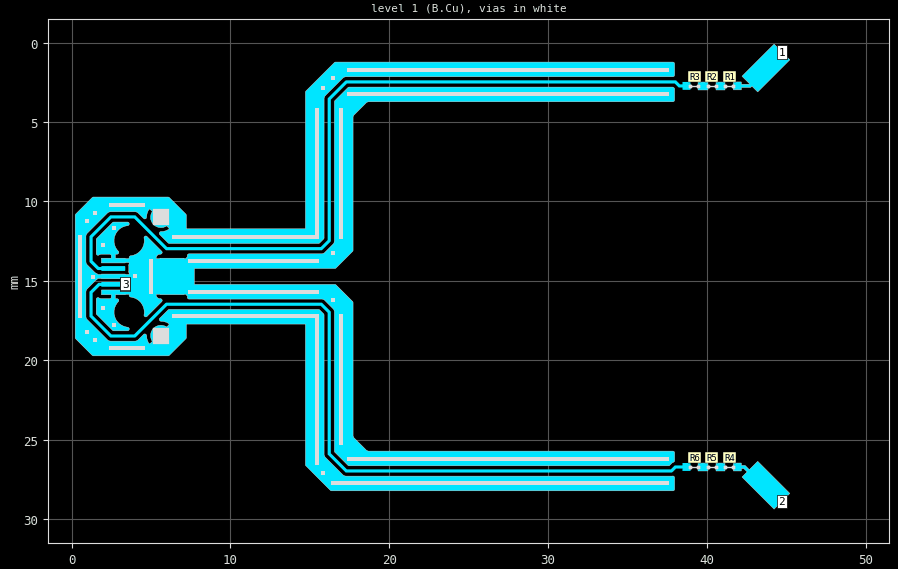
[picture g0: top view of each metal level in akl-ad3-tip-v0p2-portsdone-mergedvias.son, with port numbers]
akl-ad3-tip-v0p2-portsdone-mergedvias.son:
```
FTYP SONPROJ 19 ! Sonnet Project File
VER 18.01
HEADER
LIC antikernel2.1.51176 90e2ba8817c1 havequick azonenberg FullLicense
DAT 10/08/2021 09:10:43
BUILT_BY_CREATED dxf 18.01 09/25/2021 05:46:11
BUILT_BY_SAVED sonnet 18.01
MDATE 10/08/2021 09:05:30
HDATE 10/08/2021 09:05:30
ANN Created by dxfgeo, Sonnet Software Inc.
END HEADER
DIM
ANG DEG
CAP PF
CON /OH
FREQ GHZ
IND NH
LNG MM
RES OH
END DIM
CONTROL
VARSWP
OPTIONS  -dj
SPEED 1
CACHE_ABS 2
Q_ACC N
END CONTROL
GEO
TMET "Free Space" 0 FREESPACE 376.7303136 0 0 0
BMET "Lossless" 0 SUP 0 0 0 0
MET "Copper 1oz thick" 1 TMM 58000000 0.5 0.035 2
MET "Unknown_metal" 1 VOL INF 0
BOX 2 50 30 4000 2400 20 0
      5 1 1 0 0 0 0 "Air"
      0.035 4.3 1 0.02 0 0 0 "Soldermask"
      0.1016 3.2 1 0.002 0 0 0 "Panasonic R-F775"
TECHLAY METAL B.Cu L1D0 -1 -65534 
1 0 0 N 229 1 1 100 100 0 0 0 Y
END
END
TECHLAY VIA Via1 L2D0 -2 -65534 
VIA POLYGON
1 0 -1 N 375 1 1 100 100 0 0 0 Y
TOLEVEL 2 RING NOCOVERS
END
END
LORGN 0 30 U 
POR1 CUP Auto
GNDREF AUTO
TERMW FEED
POLY 3 1
22
2 50 0 0 0 44.736 28.886 
CUPGRP "Auto" LOCAL
ID 371
END
POR1 CUP Auto
GNDREF AUTO
TERMW FEED
POLY 4 1
61
4 50 0 0 0 3.375 15.225 
CUPGRP "Auto" LOCAL
ID 372
END
POR1 CUP Auto
GNDREF AUTO
TERMW FEED
POLY 7 1
122
3 50 0 0 0 3.375 14.225 
CUPGRP "Auto" LOCAL
ID 373
END
POR1 CUP Auto
GNDREF AUTO
TERMW FEED
POLY 21 1
19
1 50 0 0 0 44.736 0.589 
CUPGRP "Auto" LOCAL
ID 374
END
SMD 1 "R1"
ID 255
GNDREF AUTO
DRP1 RIGHT NONE 1
DRP1 LEFT NONE 1
SBOX 41.3 41.55 2.6 2.85
PBSHW N
LPOS 41.425 2.6
TYPE SPARAM 1
SMDP 1 41.675 2.725 R 5 1 
EXSMDP
GNDREF AUTO
TERMW FEED
END EXSMDP
SMDP 1 41.175 2.725 L 6 2 
EXSMDP
GNDREF AUTO
TERMW FEED
END EXSMDP
END
SMD 1 "R2"
ID 282
GNDREF AUTO
DRP1 RIGHT NONE 1
DRP1 LEFT NONE 1
SBOX 40.2 40.45 2.6 2.85
PBSHW N
LPOS 40.325 2.6
TYPE SPARAM 1
SMDP 1 40.575 2.725 R 7 1 
EXSMDP
GNDREF AUTO
TERMW FEED
END EXSMDP
SMDP 1 40.075 2.725 L 8 2 
EXSMDP
GNDREF AUTO
TERMW FEED
END EXSMDP
END
SMD 1 "R3"
ID 287
GNDREF AUTO
DRP1 RIGHT NONE 1
DRP1 LEFT NONE 1
SBOX 39.1 39.35 2.6 2.85
PBSHW N
LPOS 39.225 2.6
TYPE SPARAM 2
SMDP 1 39.475 2.725 R 9 1 
EXSMDP
GNDREF AUTO
TERMW FEED
END EXSMDP
SMDP 1 38.975 2.725 L 10 2 
EXSMDP
GNDREF AUTO
TERMW FEED
END EXSMDP
END
SMD 1 "R4"
ID 293
GNDREF AUTO
DRP1 RIGHT NONE 1
DRP1 LEFT NONE 1
SBOX 41.3 41.55 26.6 26.85
PBSHW N
LPOS 41.425 26.6
TYPE SPARAM 1
SMDP 1 41.675 26.725 R 11 1 
EXSMDP
GNDREF AUTO
TERMW FEED
END EXSMDP
SMDP 1 41.175 26.725 L 12 2 
EXSMDP
GNDREF AUTO
TERMW FEED
END EXSMDP
END
SMD 1 "R5"
ID 298
GNDREF AUTO
DRP1 RIGHT NONE 1
DRP1 LEFT NONE 1
SBOX 40.2 40.45 26.6 26.85
PBSHW N
LPOS 40.325 26.6
TYPE SPARAM 1
SMDP 1 40.575 26.725 R 13 1 
EXSMDP
GNDREF AUTO
TERMW FEED
END EXSMDP
SMDP 1 40.075 26.725 L 14 2 
EXSMDP
GNDREF AUTO
TERMW FEED
END EXSMDP
END
SMD 1 "R6"
ID 303
GNDREF AUTO
DRP1 RIGHT NONE 1
DRP1 LEFT NONE 1
SBOX 39.1 39.35 26.6 26.85
PBSHW N
LPOS 39.225 26.6
TYPE SPARAM 2
SMDP 1 39.475 26.725 R 15 1 
EXSMDP
GNDREF AUTO
TERMW FEED
END EXSMDP
SMDP 1 38.975 26.725 L 16 2 
EXSMDP
GNDREF AUTO
TERMW FEED
END EXSMDP
END
NUM 40
1 5 0 N 1 1 1 100 100 0 0 0 Y
TLAYNAM B.Cu INH
39.475 26.975
39.475 26.475
40.075 26.475
40.075 26.975
39.475 26.975
END
1 5 0 N 2 1 1 100 100 0 0 0 Y
TLAYNAM B.Cu INH
40.575 26.975
40.575 26.475
41.175 26.475
41.175 26.975
40.575 26.975
END
1 24 0 N 3 1 1 100 100 0 0 0 Y
TLAYNAM B.Cu INH
44.241 29.381
42.219 27.359
42.543 27.035
42.334 26.825
42.175 26.825
42.175 26.975
41.675 26.975
41.675 26.475
42.175 26.475
42.175 26.625
42.38 26.625
42.39 26.626
42.399 26.628
42.409 26.631
42.418 26.634
42.426 26.639
42.435 26.645
42.442 26.651
42.449 26.658
42.455 26.665
42.684 26.894
43.209 26.369
45.231 28.391
44.241 29.381
END
1 125 0 N 4 1 1 100 100 0 0 0 Y
TLAYNAM B.Cu INH
17.295 27.075
17.285 27.074
17.276 27.072
17.266 27.069
17.257 27.066
17.249 27.061
17.24 27.055
17.233 27.049
16.151 25.967
16.145 25.96
16.139 25.951
16.134 25.943
16.131 25.934
16.128 25.924
16.126 25.915
16.125 25.905
16.125 17.016
15.684 16.575
6.016 16.575
4.042 18.549
4.035 18.555
4.026 18.561
4.018 18.566
4.009 18.569
3.999 18.572
3.99 18.574
3.98 18.575
2.47 18.575
2.46 18.574
2.451 18.572
2.441 18.569
2.432 18.566
2.424 18.561
2.415 18.555
2.408 18.549
1.151 17.292
1.145 17.285
1.139 17.276
1.134 17.268
1.131 17.259
1.128 17.249
1.126 17.24
1.125 17.23
1.125 15.72
1.126 15.71
1.128 15.701
1.131 15.691
1.134 15.682
1.139 15.674
1.145 15.665
1.151 15.658
1.658 15.151
1.665 15.145
1.674 15.139
1.682 15.134
1.691 15.131
1.701 15.128
1.71 15.126
1.72 15.125
1.875 15.125
1.875 15.075
3.375 15.075
3.375 15.375
1.875 15.375
1.875 15.325
1.766 15.325
1.325 15.766
1.325 17.184
2.516 18.375
3.934 18.375
5.908 16.401
5.915 16.395
5.924 16.389
5.932 16.384
5.941 16.381
5.951 16.378
5.96 16.376
5.97 16.375
15.73 16.375
15.74 16.376
15.749 16.378
15.759 16.381
15.768 16.384
15.776 16.389
15.785 16.395
15.792 16.401
15.799 16.408
15.805 16.415
16.285 16.895
16.292 16.901
16.299 16.908
16.305 16.915
16.311 16.924
16.316 16.932
16.319 16.941
16.322 16.951
16.324 16.96
16.325 16.97
16.325 25.859
17.341 26.875
37.734 26.875
37.958 26.651
37.965 26.645
37.974 26.639
37.982 26.634
37.991 26.631
38.001 26.628
38.01 26.626
38.02 26.625
38.475 26.625
38.475 26.475
38.975 26.475
38.975 26.975
38.475 26.975
38.475 26.825
38.066 26.825
37.842 27.049
37.835 27.055
37.826 27.061
37.818 27.066
37.809 27.069
37.799 27.072
37.79 27.074
37.78 27.075
17.295 27.075
END
1 5 0 N 5 1 1 100 100 0 0 0 Y
TLAYNAM B.Cu INH
39.475 2.975
39.475 2.475
40.075 2.475
40.075 2.975
39.475 2.975
END
1 5 0 N 6 1 1 100 100 0 0 0 Y
TLAYNAM B.Cu INH
40.575 2.975
40.575 2.475
41.175 2.475
41.175 2.975
40.575 2.975
END
1 125 0 N 7 1 1 100 100 0 0 0 Y
TLAYNAM B.Cu INH
1.875 14.375
1.875 14.325
1.67 14.325
1.66 14.324
1.651 14.322
1.641 14.319
1.632 14.316
1.624 14.311
1.615 14.305
1.608 14.299
1.151 13.842
1.145 13.835
1.139 13.826
1.134 13.818
1.131 13.809
1.128 13.799
1.126 13.79
1.125 13.78
1.125 12.22
1.126 12.21
1.128 12.201
1.131 12.191
1.134 12.182
1.139 12.174
1.145 12.165
1.151 12.158
2.408 10.901
2.415 10.895
2.424 10.889
2.432 10.884
2.441 10.881
2.451 10.878
2.46 10.876
2.47 10.875
3.98 10.875
3.99 10.876
3.999 10.878
4.009 10.881
4.018 10.884
4.026 10.889
4.035 10.895
4.042 10.901
4.049 10.908
4.055 10.915
6.016 12.875
15.684 12.875
16.125 12.434
16.125 3.545
16.126 3.535
16.128 3.526
16.131 3.516
16.134 3.507
16.139 3.499
16.145 3.49
16.151 3.483
17.233 2.401
17.24 2.395
17.249 2.389
17.257 2.384
17.266 2.381
17.276 2.378
17.285 2.376
17.295 2.375
38.03 2.375
38.04 2.376
38.049 2.378
38.059 2.381
38.068 2.384
38.076 2.389
38.085 2.395
38.092 2.401
38.099 2.408
38.105 2.415
38.316 2.625
38.475 2.625
38.475 2.475
38.975 2.475
38.975 2.975
38.475 2.975
38.475 2.825
38.27 2.825
38.26 2.824
38.251 2.822
38.241 2.819
38.232 2.816
38.224 2.811
38.215 2.805
38.208 2.799
37.984 2.575
17.341 2.575
16.325 3.591
16.325 12.48
16.324 12.49
16.322 12.499
16.319 12.509
16.316 12.518
16.311 12.526
16.305 12.535
16.299 12.542
15.792 13.049
15.785 13.055
15.776 13.061
15.768 13.066
15.759 13.069
15.749 13.072
15.74 13.074
15.73 13.075
5.97 13.075
5.96 13.074
5.951 13.072
5.941 13.069
5.932 13.066
5.924 13.061
5.915 13.055
5.908 13.049
3.934 11.075
2.516 11.075
1.325 12.266
1.325 13.734
1.716 14.125
1.875 14.125
1.875 14.075
3.375 14.075
3.375 14.375
1.875 14.375
END
1 1538 0 N 8 1 1 100 100 0 0 0 Y
TLAYNAM B.Cu INH
16.369 28.226
16.358 28.224
16.348 28.222
16.337 28.219
16.327 28.215
16.317 28.21
16.299 28.196
16.291 28.189
16.287 28.185
14.754 26.651
14.747 26.642
14.741 26.633
14.736 26.624
14.731 26.613
14.728 26.603
14.726 26.592
14.725 26.581
14.725 17.987
14.727 17.979
14.727 17.978
14.725 17.963
14.725 17.727
14.724 17.726
14.487 17.726
14.478 17.724
14.473 17.724
14.463 17.726
7.487 17.726
7.478 17.724
7.473 17.724
7.463 17.726
7.226 17.726
7.226 17.963
7.224 17.972
7.224 17.977
7.226 17.987
7.226 18.581
7.224 18.592
7.222 18.602
7.219 18.613
7.215 18.623
7.21 18.633
7.196 18.651
7.189 18.659
7.184 18.663
6.151 19.696
6.133 19.71
6.123 19.715
6.113 19.719
6.103 19.722
6.081 19.726
1.369 19.726
1.358 19.724
1.348 19.722
1.337 19.719
1.327 19.715
1.317 19.71
1.299 19.696
0.793 19.19
0.786 19.182
0.254 18.65
0.247 18.642
0.241 18.633
0.236 18.623
0.232 18.613
0.228 18.602
0.226 18.591
0.225 18.582
0.225 10.869
0.227 10.858
0.229 10.848
0.232 10.837
0.236 10.827
0.241 10.817
0.255 10.799
1.3 9.754
1.308 9.747
1.317 9.741
1.327 9.736
1.337 9.732
1.348 9.728
1.359 9.726
1.368 9.725
6.08 9.725
6.09 9.727
6.092 9.727
6.102 9.729
6.113 9.732
6.123 9.736
6.133 9.741
6.151 9.755
6.158 9.762
7.184 10.789
7.189 10.792
7.196 10.799
7.21 10.817
7.215 10.827
7.219 10.837
7.222 10.848
7.224 10.858
7.226 10.869
7.226 11.463
7.224 11.472
7.224 11.477
7.226 11.487
7.226 11.725
7.463 11.725
7.471 11.727
7.472 11.727
7.487 11.725
14.463 11.725
14.471 11.727
14.472 11.727
14.487 11.725
14.723 11.725
14.725 11.724
14.725 11.487
14.727 11.479
14.727 11.478
14.725 11.463
14.725 3.119
14.727 3.108
14.729 3.098
14.732 3.087
14.736 3.077
14.741 3.067
14.755 3.049
14.762 3.041
14.766 3.038
16.55 1.254
16.559 1.247
16.561 1.246
16.567 1.241
16.577 1.236
16.588 1.231
16.598 1.228
16.609 1.226
16.618 1.225
37.463 1.225
37.471 1.227
37.472 1.227
37.487 1.225
37.869 1.225
37.88 1.227
37.89 1.229
37.901 1.232
37.911 1.236
37.921 1.241
37.939 1.255
37.946 1.262
37.96 1.28
37.965 1.29
37.969 1.3
37.972 1.311
37.974 1.321
37.976 1.332
37.976 2.044
37.974 2.055
37.972 2.065
37.969 2.076
37.965 2.086
37.96 2.096
37.946 2.114
37.939 2.121
37.921 2.135
37.911 2.14
37.901 2.144
37.89 2.147
37.88 2.149
37.869 2.151
17.315 2.151
17.297 2.149
17.296 2.149
17.285 2.151
17.273 2.151
17.233 2.156
17.178 2.172
17.117 2.204
17.105 2.214
17.098 2.221
17.065 2.248
17.064 2.249
17.059 2.256
16.006 3.309
16 3.314
15.997 3.316
15.995 3.317
15.994 3.318
15.994 3.319
15.99 3.323
15.984 3.331
15.981 3.334
15.954 3.368
15.923 3.424
15.906 3.483
15.899 3.552
15.899 3.554
15.901 3.565
15.9 12.288
15.901 12.3
15.899 12.311
15.897 12.321
15.894 12.332
15.89 12.342
15.885 12.352
15.871 12.37
15.62 12.621
15.602 12.635
15.592 12.64
15.582 12.644
15.572 12.647
15.55 12.651
6.15 12.651
6.139 12.649
6.129 12.647
6.118 12.644
6.108 12.64
6.098 12.635
6.08 12.621
5.55 12.091
5.536 12.073
5.531 12.063
5.527 12.053
5.524 12.042
5.524 12.041
5.523 12.038
5.521 12.028
5.521 12.025
5.52 12.021
5.52 12.009
5.521 12.002
5.522 11.998
5.522 11.994
5.525 11.984
5.528 11.973
5.536 11.957
5.537 11.956
5.538 11.954
5.544 11.944
5.552 11.936
5.568 11.922
5.578 11.916
5.588 11.911
5.598 11.907
5.609 11.904
5.619 11.902
5.779 11.891
5.951 11.844
6.112 11.763
6.119 11.758
6.142 11.694
5.987 11.539
5.959 11.558
5.903 11.588
5.844 11.612
5.783 11.631
5.72 11.643
5.657 11.649
5.593 11.649
5.53 11.643
5.467 11.631
5.406 11.612
5.347 11.588
5.291 11.558
5.238 11.522
5.188 11.482
5.143 11.437
5.103 11.387
5.067 11.334
5.037 11.278
5.013 11.219
4.994 11.158
4.982 11.095
4.976 11.032
4.976 10.968
4.982 10.905
4.994 10.842
5.013 10.781
5.037 10.722
5.067 10.666
5.086 10.638
4.932 10.484
4.871 10.505
4.798 10.634
4.743 10.8
4.721 10.975
4.721 10.98
4.722 10.988
4.722 11
4.72 11.011
4.718 11.021
4.714 11.032
4.71 11.042
4.708 11.045
4.706 11.049
4.701 11.055
4.698 11.06
4.691 11.069
4.683 11.076
4.674 11.083
4.67 11.086
4.667 11.088
4.655 11.094
4.649 11.096
4.647 11.097
4.646 11.097
4.644 11.098
4.634 11.101
4.623 11.103
4.612 11.104
4.603 11.104
4.594 11.102
4.59 11.102
4.584 11.101
4.582 11.1
4.571 11.097
4.57 11.096
4.568 11.096
4.566 11.095
4.561 11.093
4.551 11.088
4.549 11.086
4.545 11.083
4.54 11.08
4.535 11.076
4.216 10.757
4.209 10.748
4.206 10.744
4.206 10.743
4.157 10.703
4.101 10.673
4.041 10.656
4.002 10.651
3.99 10.651
3.972 10.649
3.971 10.649
3.96 10.651
2.49 10.651
2.472 10.649
2.471 10.649
2.46 10.651
2.448 10.651
2.408 10.656
2.353 10.672
2.292 10.704
2.244 10.743
2.243 10.744
2.234 10.756
1.006 11.984
1 11.989
0.997 11.991
0.995 11.992
0.994 11.993
0.994 11.994
0.99 11.998
0.984 12.006
0.981 12.009
0.954 12.043
0.924 12.099
0.912 12.136
0.909 12.148
0.907 12.153
0.906 12.156
0.905 12.158
0.903 12.18
0.901 12.191
0.898 12.223
0.899 12.229
0.901 12.24
0.9 13.748
0.901 13.76
0.899 13.778
0.899 13.779
0.901 13.79
0.901 13.802
0.906 13.842
0.922 13.897
0.954 13.958
0.993 14.006
0.994 14.007
1.006 14.016
1.434 14.444
1.439 14.45
1.441 14.453
1.444 14.456
1.487 14.491
1.504 14.502
1.505 14.503
1.548 14.526
1.566 14.531
1.577 14.536
1.586 14.541
1.596 14.547
1.604 14.554
1.612 14.562
1.619 14.57
1.649 14.6
1.864 14.6
1.869 14.601
1.875 14.601
1.875 14.575
3.375 14.575
3.375 14.601
3.381 14.601
3.386 14.6
3.601 14.6
3.626 14.575
3.622 14.528
3.607 14.479
3.607 14.478
3.606 14.478
3.605 14.473
3.603 14.469
3.603 14.468
3.6 14.458
3.596 14.436
3.597 14.424
3.601 14.38
3.601 14.069
3.596 14.027
3.596 14.014
3.597 14.003
3.599 13.992
3.607 13.972
3.608 13.97
3.608 13.969
3.621 13.927
3.626 13.875
3.602 13.851
3.386 13.851
3.375 13.85
3.375 13.875
1.875 13.875
1.875 13.575
2.5 13.575
2.5 13.391
2.435 13.326
1.871 13.324
1.869 13.324
1.828 13.328
1.777 13.344
1.739 13.363
1.737 13.365
1.73 13.371
1.721 13.377
1.711 13.382
1.701 13.386
1.69 13.39
1.679 13.392
1.67 13.393
1.657 13.393
1.646 13.392
1.635 13.39
1.615 13.382
1.605 13.377
1.596 13.371
1.587 13.364
1.579 13.356
1.572 13.347
1.566 13.338
1.561 13.328
1.557 13.318
1.554 13.308
1.551 13.297
1.55 13.286
1.55 12.4
1.552 12.389
1.554 12.379
1.554 12.378
1.557 12.368
1.561 12.358
1.566 12.348
1.58 12.33
1.587 12.322
1.591 12.319
2.581 11.329
2.59 11.322
2.592 11.321
2.598 11.316
2.604 11.313
2.609 11.31
2.619 11.306
2.629 11.303
2.64 11.301
2.649 11.3
3.526 11.3
3.537 11.302
3.547 11.304
3.548 11.304
3.558 11.307
3.568 11.311
3.578 11.316
3.596 11.33
3.604 11.337
3.611 11.346
3.617 11.355
3.622 11.365
3.626 11.375
3.629 11.386
3.632 11.396
3.633 11.407
3.633 11.419
3.632 11.43
3.629 11.44
3.626 11.451
3.622 11.461
3.617 11.471
3.611 11.48
3.604 11.489
3.596 11.496
3.578 11.51
3.568 11.515
3.558 11.519
3.548 11.522
3.547 11.522
3.536 11.524
3.346 11.562
3.174 11.633
3.021 11.736
2.911 11.846
2.906 11.854
2.887 11.876
2.876 11.887
2.782 12.027
2.71 12.202
2.676 12.373
2.676 12.573
2.712 12.754
2.783 12.926
2.886 13.079
2.943 13.136
2.95 13.145
2.956 13.154
2.962 13.164
2.966 13.174
2.969 13.184
2.971 13.195
2.973 13.217
2.969 13.239
2.966 13.25
2.962 13.26
2.957 13.27
2.951 13.279
2.944 13.287
2.936 13.295
2.927 13.302
2.918 13.308
2.908 13.314
2.898 13.318
2.888 13.321
2.877 13.323
2.866 13.324
2.854 13.324
2.775 13.325
2.751 13.349
2.751 13.575
3.375 13.575
3.375 13.6
3.601 13.6
3.626 13.575
3.624 13.554
3.624 13.553
3.622 13.542
3.623 13.53
3.624 13.519
3.626 13.509
3.629 13.498
3.633 13.488
3.638 13.478
3.645 13.469
3.652 13.461
3.652 13.46
3.659 13.453
3.66 13.453
3.668 13.446
3.677 13.439
3.687 13.434
3.697 13.43
3.708 13.427
3.719 13.425
3.905 13.388
4.076 13.317
4.229 13.214
4.361 13.082
4.468 12.923
4.54 12.748
4.575 12.572
4.575 12.377
4.564 12.319
4.563 12.317
4.561 12.307
4.56 12.296
4.559 12.284
4.561 12.273
4.563 12.263
4.566 12.252
4.57 12.242
4.575 12.232
4.589 12.214
4.596 12.206
4.605 12.199
4.614 12.193
4.624 12.188
4.634 12.184
4.645 12.181
4.655 12.179
4.666 12.177
4.678 12.177
4.689 12.179
4.699 12.181
4.71 12.184
4.72 12.188
4.73 12.193
4.739 12.199
4.748 12.206
4.756 12.214
4.759 12.219
5.668 13.128
5.676 13.135
5.683 13.143
5.689 13.153
5.694 13.162
5.699 13.173
5.702 13.183
5.704 13.194
5.705 13.205
5.705 13.216
5.704 13.227
5.702 13.238
5.699 13.248
5.694 13.259
5.689 13.268
5.683 13.278
5.676 13.286
5.667 13.295
5.659 13.302
5.65 13.308
5.64 13.313
5.63 13.317
5.62 13.32
5.609 13.322
5.607 13.322
5.597 13.324
5.578 13.323
5.528 13.328
5.477 13.344
5.438 13.364
5.393 13.402
5.368 13.432
5.341 13.483
5.329 13.523
5.324 13.574
5.35 13.6
5.563 13.6
5.574 13.602
5.575 13.602
5.575 13.575
7.075 13.575
7.075 13.601
7.076 13.601
7.087 13.6
7.203 13.6
7.204 13.597
7.218 13.571
7.234 13.546
7.253 13.524
7.274 13.503
7.296 13.484
7.306 13.477
7.306 13.476
7.305 13.475
7.302 13.471
7.297 13.461
7.293 13.451
7.29 13.44
7.288 13.43
7.286 13.419
7.286 13.407
7.288 13.396
7.29 13.386
7.293 13.375
7.297 13.365
7.302 13.355
7.316 13.337
7.324 13.329
7.333 13.322
7.335 13.321
7.341 13.316
7.351 13.311
7.361 13.307
7.383 13.301
7.392 13.3
15.71 13.3
15.722 13.302
15.729 13.302
15.738 13.3
15.748 13.3
15.786 13.296
15.847 13.278
15.908 13.246
15.956 13.207
15.957 13.206
15.966 13.194
16.444 12.716
16.45 12.711
16.453 12.709
16.456 12.706
16.497 12.657
16.527 12.601
16.544 12.541
16.55 12.49
16.551 12.48
16.552 12.476
16.552 12.471
16.55 12.462
16.55 3.726
16.552 3.716
16.552 3.714
16.554 3.704
16.557 3.693
16.561 3.683
16.566 3.673
16.58 3.655
17.406 2.829
17.415 2.822
17.417 2.821
17.423 2.816
17.429 2.813
17.434 2.81
17.444 2.806
17.454 2.803
17.465 2.801
17.474 2.8
37.85 2.8
37.861 2.802
37.871 2.804
37.882 2.807
37.892 2.811
37.902 2.816
37.92 2.83
37.927 2.837
37.93 2.841
37.934 2.845
37.939 2.848
37.946 2.855
37.96 2.873
37.965 2.883
37.969 2.893
37.972 2.904
37.974 2.914
37.976 2.925
37.976 3.619
37.974 3.63
37.972 3.64
37.969 3.651
37.965 3.661
37.96 3.671
37.946 3.689
37.939 3.696
37.921 3.71
37.911 3.715
37.901 3.719
37.89 3.722
37.88 3.724
37.869 3.726
18.738 3.726
18.73 3.724
18.723 3.724
18.713 3.726
18.701 3.726
18.674 3.729
18.627 3.744
18.588 3.764
18.557 3.789
18.549 3.796
18.546 3.798
18.544 3.8
18.539 3.806
18.539 3.807
17.807 4.539
17.798 4.546
17.796 4.548
17.789 4.556
17.789 4.557
17.788 4.558
17.767 4.585
17.743 4.628
17.741 4.633
17.74 4.634
17.729 4.673
17.726 4.701
17.725 4.713
17.725 4.714
17.724 4.724
17.724 4.727
17.726 4.737
17.726 13.081
17.724 13.092
17.722 13.102
17.719 13.113
17.715 13.123
17.71 13.133
17.696 13.151
17.689 13.159
17.684 13.163
16.651 14.196
16.633 14.21
16.623 14.215
16.613 14.219
16.603 14.222
16.581 14.226
7.987 14.226
7.978 14.224
7.973 14.224
7.963 14.226
7.726 14.226
7.726 14.463
7.724 14.472
7.724 14.477
7.726 14.487
7.726 14.963
7.724 14.972
7.724 14.977
7.726 14.987
7.726 15.225
7.963 15.225
7.971 15.227
7.972 15.227
7.987 15.225
16.581 15.225
16.592 15.227
16.602 15.229
16.613 15.232
16.623 15.236
16.633 15.241
16.651 15.255
16.659 15.262
16.662 15.267
17.684 16.289
17.689 16.292
17.696 16.299
17.71 16.317
17.715 16.327
17.719 16.337
17.722 16.348
17.724 16.358
17.726 16.369
17.726 24.713
17.724 24.722
17.724 24.728
17.728 24.772
17.744 24.823
17.764 24.862
17.789 24.893
17.796 24.901
17.798 24.904
17.8 24.906
17.806 24.911
17.807 24.911
18.539 25.643
18.546 25.652
18.548 25.654
18.556 25.661
18.557 25.661
18.558 25.662
18.585 25.683
18.633 25.709
18.669 25.72
18.713 25.725
18.724 25.726
18.725 25.726
18.737 25.725
37.869 25.725
37.88 25.727
37.89 25.729
37.901 25.732
37.911 25.736
37.921 25.741
37.939 25.755
37.946 25.762
37.96 25.78
37.965 25.79
37.969 25.8
37.972 25.811
37.974 25.821
37.976 25.832
37.976 26.323
37.974 26.334
37.972 26.344
37.972 26.345
37.969 26.356
37.965 26.366
37.96 26.376
37.953 26.385
37.946 26.393
37.939 26.4
37.939 26.401
37.93 26.408
37.921 26.414
37.911 26.419
37.904 26.422
37.901 26.424
37.898 26.425
37.842 26.454
37.794 26.493
37.793 26.494
37.784 26.506
37.68 26.61
37.677 26.614
37.67 26.621
37.652 26.635
37.642 26.64
37.632 26.644
37.621 26.647
37.611 26.649
37.6 26.651
17.475 26.651
17.464 26.649
17.454 26.647
17.443 26.644
17.433 26.64
17.423 26.635
17.405 26.621
16.579 25.795
16.572 25.786
16.566 25.777
16.56 25.767
16.556 25.757
16.553 25.747
16.551 25.736
16.55 25.725
16.55 16.99
16.552 16.978
16.552 16.971
16.55 16.962
16.55 16.952
16.546 16.914
16.528 16.853
16.496 16.792
16.457 16.744
16.456 16.743
16.444 16.734
15.966 16.256
15.961 16.25
15.959 16.247
15.956 16.244
15.907 16.203
15.851 16.173
15.791 16.156
15.752 16.151
15.74 16.151
15.722 16.149
15.721 16.149
15.71 16.151
7.393 16.151
7.382 16.149
7.372 16.147
7.361 16.144
7.351 16.14
7.341 16.135
7.323 16.121
7.316 16.114
7.302 16.096
7.297 16.086
7.293 16.076
7.29 16.065
7.288 16.055
7.287 16.044
7.286 16.032
7.288 16.021
7.29 16.011
7.293 16
7.297 15.99
7.303 15.98
7.306 15.973
7.296 15.966
7.274 15.947
7.253 15.926
7.234 15.904
7.218 15.879
7.204 15.853
7.203 15.851
7.087 15.851
7.076 15.849
7.075 15.849
7.075 15.875
5.575 15.875
5.575 15.849
5.574 15.849
5.563 15.851
5.349 15.851
5.324 15.876
5.328 15.922
5.344 15.973
5.364 16.012
5.402 16.057
5.432 16.082
5.483 16.109
5.523 16.121
5.578 16.127
5.581 16.127
5.583 16.126
5.599 16.126
5.608 16.127
5.63 16.133
5.64 16.137
5.65 16.142
5.659 16.148
5.667 16.155
5.675 16.163
5.689 16.181
5.694 16.191
5.698 16.201
5.701 16.211
5.701 16.212
5.703 16.222
5.705 16.233
5.705 16.246
5.704 16.255
5.698 16.277
5.694 16.287
5.689 16.297
5.683 16.306
5.676 16.314
4.758 17.232
4.755 17.236
4.748 17.243
4.747 17.243
4.739 17.25
4.73 17.257
4.72 17.262
4.71 17.266
4.699 17.269
4.689 17.271
4.678 17.273
4.666 17.272
4.655 17.271
4.644 17.269
4.634 17.266
4.624 17.262
4.614 17.257
4.608 17.253
4.604 17.25
4.596 17.243
4.588 17.235
4.581 17.227
4.578 17.221
4.575 17.218
4.57 17.208
4.565 17.197
4.562 17.187
4.56 17.176
4.559 17.167
4.559 17.154
4.56 17.143
4.562 17.132
4.565 17.122
4.565 17.121
4.575 17.073
4.575 16.877
4.54 16.701
4.467 16.524
4.364 16.371
4.232 16.239
4.073 16.132
3.899 16.06
3.729 16.027
3.722 16.026
3.718 16.025
3.708 16.023
3.697 16.02
3.687 16.016
3.677 16.011
3.668 16.004
3.66 15.997
3.659 15.997
3.652 15.99
3.638 15.972
3.633 15.962
3.629 15.952
3.626 15.941
3.624 15.931
3.623 15.92
3.622 15.908
3.625 15.874
3.602 15.851
3.375 15.851
3.375 15.875
2.751 15.875
2.751 16.101
2.775 16.125
2.854 16.126
2.866 16.126
2.877 16.127
2.887 16.129
2.898 16.132
2.908 16.136
2.918 16.141
2.927 16.148
2.935 16.155
2.936 16.155
2.943 16.162
2.957 16.18
2.962 16.19
2.966 16.2
2.969 16.211
2.971 16.221
2.973 16.232
2.973 16.244
2.969 16.266
2.968 16.269
2.966 16.276
2.962 16.286
2.957 16.296
2.956 16.297
2.955 16.299
2.95 16.306
2.943 16.314
2.889 16.368
2.782 16.527
2.71 16.702
2.676 16.873
2.676 17.073
2.712 17.254
2.783 17.426
2.873 17.56
2.887 17.574
2.906 17.596
2.911 17.604
3.018 17.711
3.177 17.818
3.352 17.89
3.526 17.925
3.537 17.927
3.547 17.929
3.548 17.929
3.558 17.932
3.568 17.936
3.578 17.941
3.587 17.947
3.596 17.954
3.604 17.962
3.611 17.971
3.617 17.98
3.622 17.99
3.63 18.01
3.632 18.021
3.633 18.032
3.633 18.045
3.632 18.054
3.63 18.065
3.626 18.076
3.622 18.086
3.617 18.096
3.611 18.105
3.604 18.113
3.596 18.121
3.578 18.135
3.568 18.14
3.558 18.144
3.548 18.147
3.526 18.151
2.65 18.151
2.639 18.149
2.629 18.147
2.628 18.147
2.618 18.144
2.608 18.14
2.598 18.135
2.58 18.121
2.572 18.114
2.568 18.11
1.579 17.12
1.572 17.111
1.566 17.102
1.56 17.092
1.556 17.082
1.553 17.072
1.551 17.061
1.55 17.05
1.55 16.164
1.552 16.153
1.554 16.143
1.554 16.142
1.557 16.132
1.561 16.122
1.566 16.112
1.58 16.094
1.587 16.086
1.596 16.079
1.605 16.073
1.615 16.068
1.625 16.064
1.636 16.061
1.646 16.058
1.657 16.057
1.669 16.057
1.68 16.058
1.69 16.061
1.701 16.064
1.711 16.068
1.721 16.073
1.73 16.079
1.737 16.085
1.739 16.086
1.783 16.109
1.823 16.121
1.881 16.127
2.434 16.125
2.5 16.059
2.5 15.875
1.875 15.875
1.875 15.575
3.375 15.575
3.375 15.601
3.381 15.601
3.386 15.6
3.601 15.6
3.626 15.575
3.622 15.528
3.607 15.479
3.607 15.478
3.606 15.478
3.605 15.473
3.603 15.469
3.603 15.468
3.6 15.458
3.596 15.436
3.597 15.424
3.601 15.38
3.601 15.069
3.596 15.027
3.596 15.014
3.597 15.003
3.599 14.992
3.607 14.972
3.608 14.97
3.608 14.969
3.621 14.927
3.626 14.875
3.602 14.851
3.386 14.851
3.375 14.85
3.375 14.875
1.875 14.875
1.875 14.849
1.873 14.849
1.864 14.851
1.649 14.851
1.618 14.882
1.617 14.885
1.608 14.903
1.607 14.904
1.6 14.913
1.597 14.916
1.595 14.919
1.585 14.929
1.576 14.936
1.57 14.94
1.567 14.941
1.557 14.946
1.542 14.955
1.527 14.966
1.517 14.975
1.505 14.985
1.496 14.991
1.493 14.994
1.484 15.006
1.006 15.484
1 15.489
0.997 15.491
0.994 15.494
0.953 15.543
0.923 15.599
0.906 15.659
0.901 15.698
0.901 15.71
0.899 15.728
0.899 15.729
0.9 15.74
0.9 15.752
0.901 17.198
0.901 17.209
0.899 17.219
0.899 17.22
0.898 17.226
0.898 17.227
0.899 17.229
0.9 17.241
0.905 17.289
0.906 17.292
0.906 17.294
0.922 17.347
0.954 17.408
0.955 17.41
0.956 17.411
0.993 17.456
0.994 17.457
1.006 17.466
2.234 18.694
2.239 18.7
2.241 18.703
2.244 18.706
2.293 18.747
2.349 18.777
2.409 18.794
2.46 18.8
2.47 18.801
2.474 18.802
2.479 18.802
2.488 18.8
3.96 18.8
3.972 18.802
3.979 18.802
3.988 18.8
3.998 18.8
4.036 18.796
4.097 18.778
4.158 18.746
4.206 18.707
4.207 18.706
4.216 18.694
4.535 18.375
4.541 18.37
4.546 18.366
4.548 18.365
4.553 18.361
4.563 18.356
4.573 18.352
4.575 18.352
4.576 18.351
4.587 18.348
4.597 18.346
4.609 18.345
4.631 18.347
4.637 18.349
4.638 18.349
4.649 18.352
4.65 18.353
4.652 18.353
4.654 18.354
4.659 18.356
4.669 18.361
4.673 18.365
4.681 18.369
4.694 18.382
4.699 18.388
4.703 18.393
4.704 18.396
4.708 18.4
4.713 18.41
4.717 18.42
4.717 18.422
4.718 18.423
4.721 18.434
4.723 18.444
4.734 18.604
4.781 18.776
4.862 18.937
4.867 18.944
4.931 18.967
5.086 18.812
5.067 18.784
5.037 18.728
5.013 18.669
4.994 18.608
4.982 18.545
4.976 18.482
4.976 18.418
4.982 18.355
4.994 18.292
5.013 18.231
5.037 18.172
5.067 18.116
5.103 18.063
5.143 18.013
5.188 17.968
5.238 17.928
5.291 17.892
5.347 17.862
5.406 17.838
5.467 17.819
5.53 17.807
5.593 17.801
5.657 17.801
5.72 17.807
5.783 17.819
5.844 17.838
5.903 17.862
5.959 17.892
5.987 17.911
6.141 17.757
6.12 17.696
5.991 17.623
5.825 17.568
5.65 17.546
5.647 17.546
5.642 17.547
5.625 17.547
5.614 17.545
5.604 17.543
5.593 17.539
5.583 17.535
5.58 17.533
5.576 17.531
5.57 17.526
5.565 17.523
5.556 17.516
5.549 17.508
5.542 17.499
5.539 17.495
5.537 17.492
5.531 17.48
5.529 17.475
5.528 17.472
5.528 17.471
5.527 17.469
5.524 17.459
5.522 17.448
5.522 17.443
5.521 17.44
5.521 17.437
5.523 17.415
5.524 17.41
5.525 17.407
5.528 17.396
5.529 17.395
5.529 17.393
5.53 17.391
5.532 17.386
5.537 17.376
5.539 17.374
5.542 17.37
5.545 17.365
5.549 17.36
6.08 16.829
6.089 16.822
6.098 16.816
6.108 16.81
6.118 16.806
6.128 16.803
6.139 16.801
6.15 16.8
15.549 16.8
15.559 16.802
15.561 16.802
15.571 16.804
15.582 16.807
15.592 16.811
15.602 16.816
15.62 16.83
15.627 16.837
15.859 17.07
15.864 17.073
15.871 17.08
15.885 17.098
15.89 17.108
15.894 17.118
15.897 17.129
15.899 17.139
15.9 17.15
15.9 17.162
15.901 25.873
15.901 25.884
15.899 25.894
15.898 25.901
15.898 25.904
15.904 25.962
15.922 26.022
15.954 26.083
15.955 26.084
15.993 26.131
15.994 26.132
16.006 26.141
17.059 27.194
17.064 27.2
17.066 27.203
17.067 27.205
17.068 27.206
17.07 27.207
17.073 27.21
17.081 27.216
17.081 27.217
17.082 27.217
17.083 27.218
17.091 27.224
17.099 27.231
17.121 27.248
17.174 27.277
17.234 27.294
17.285 27.3
17.295 27.301
17.299 27.302
17.304 27.302
17.313 27.3
37.76 27.3
37.772 27.302
37.779 27.302
37.788 27.3
37.802 27.3
37.835 27.296
37.846 27.294
37.857 27.293
37.87 27.293
37.879 27.294
37.89 27.296
37.901 27.299
37.921 27.309
37.93 27.315
37.938 27.322
37.946 27.33
37.953 27.338
37.956 27.342
37.96 27.348
37.963 27.354
37.965 27.357
37.969 27.368
37.972 27.378
37.976 27.4
37.976 28.119
37.974 28.13
37.972 28.14
37.969 28.151
37.965 28.161
37.96 28.171
37.946 28.189
37.939 28.196
37.921 28.21
37.911 28.215
37.901 28.219
37.89 28.222
37.88 28.224
37.869 28.226
37.488 28.226
37.48 28.224
37.473 28.224
37.463 28.226
16.369 28.226
END
1 22 0 N 21 1 1 100 100 0 0 0 Y
TLAYNAM B.Cu INH
43.209 3.106
42.847 2.744
42.792 2.799
42.785 2.805
42.776 2.811
42.768 2.816
42.759 2.819
42.749 2.822
42.74 2.824
42.73 2.825
42.175 2.825
42.175 2.975
41.675 2.975
41.675 2.475
42.175 2.475
42.175 2.625
42.684 2.625
42.706 2.603
42.219 2.116
44.241 0.094
45.231 1.084
43.209 3.106
END
VIA POLYGON
1 5 -1 N 22 1 1 100 100 0 0 0 Y
TOLEVEL 2 RING NOCOVERS
TLAYNAM Via1 INH
1.201 14.869
1.201 14.619
1.451 14.619
1.451 14.869
1.201 14.869
END
VIA POLYGON
1 5 -1 N 23 1 1 100 100 0 0 0 Y
TOLEVEL 2 RING NOCOVERS
TLAYNAM Via1 INH
3.85 14.85
3.85 14.6
4.1 14.6
4.1 14.85
3.85 14.85
END
VIA POLYGON
1 5 -1 N 74 1 1 100 100 0 0 0 Y
TOLEVEL 2 RING NOCOVERS
TLAYNAM Via1 INH
16.85 12.35
16.85 4.1
17.1 4.1
17.1 12.35
16.85 12.35
END
VIA POLYGON
1 5 -1 N 75 1 1 100 100 0 0 0 Y
TOLEVEL 2 RING NOCOVERS
TLAYNAM Via1 INH
17.35 3.35
17.35 3.1
37.6 3.1
37.6 3.35
17.35 3.35
END
VIA POLYGON
1 5 -1 N 80 1 1 100 100 0 0 0 Y
TOLEVEL 2 RING NOCOVERS
TLAYNAM Via1 INH
4.85 15.85
4.85 13.6
5.1 13.6
5.1 15.85
4.85 15.85
END
VIA POLYGON
1 5 -1 N 81 1 1 100 100 0 0 0 Y
TOLEVEL 2 RING NOCOVERS
TLAYNAM Via1 INH
7.35 13.85
7.35 13.6
15.6 13.6
15.6 13.85
7.35 13.85
END
VIA POLYGON
1 5 -1 N 91 1 1 100 100 0 0 0 Y
TOLEVEL 2 RING NOCOVERS
TLAYNAM Via1 INH
16.35 13.35
16.35 13.1
16.6 13.1
16.6 13.35
16.35 13.35
END
VIA POLYGON
1 5 -1 N 92 1 1 100 100 0 0 0 Y
TOLEVEL 2 RING NOCOVERS
TLAYNAM Via1 INH
1.85 12.85
1.85 12.6
2.1 12.6
2.1 12.85
1.85 12.85
END
VIA POLYGON
1 5 -1 N 96 1 1 100 100 0 0 0 Y
TOLEVEL 2 RING NOCOVERS
TLAYNAM Via1 INH
15.725 2.975
15.725 2.725
15.975 2.725
15.975 2.975
15.725 2.975
END
VIA POLYGON
1 5 -1 N 97 1 1 100 100 0 0 0 Y
TOLEVEL 2 RING NOCOVERS
TLAYNAM Via1 INH
16.35 2.35
16.35 2.1
16.6 2.1
16.6 2.35
16.35 2.35
END
VIA POLYGON
1 5 -1 N 98 1 1 100 100 0 0 0 Y
TOLEVEL 2 RING NOCOVERS
TLAYNAM Via1 INH
17.35 1.85
17.35 1.6
37.6 1.6
37.6 1.85
17.35 1.85
END
VIA POLYGON
1 5 -1 N 112 1 1 100 100 0 0 0 Y
TOLEVEL 2 RING NOCOVERS
TLAYNAM Via1 INH
2.54 11.8
2.54 11.55
2.79 11.55
2.79 11.8
2.54 11.8
END
VIA POLYGON
1 5 -1 N 113 1 1 100 100 0 0 0 Y
TOLEVEL 2 RING NOCOVERS
TLAYNAM Via1 INH
0.85 11.35
0.85 11.1
1.1 11.1
1.1 11.35
0.85 11.35
END
VIA POLYGON
1 5 -1 N 116 1 1 100 100 0 0 0 Y
TOLEVEL 2 RING NOCOVERS
TLAYNAM Via1 INH
1.35 10.85
1.35 10.6
1.6 10.6
1.6 10.85
1.35 10.85
END
VIA POLYGON
1 5 -1 N 117 1 1 100 100 0 0 0 Y
TOLEVEL 2 RING NOCOVERS
TLAYNAM Via1 INH
5.125 11.5
5.125 10.5
6.125 10.5
6.125 11.5
5.125 11.5
END
VIA POLYGON
1 5 -1 N 118 1 1 100 100 0 0 0 Y
TOLEVEL 2 RING NOCOVERS
TLAYNAM Via1 INH
2.35 10.35
2.35 10.1
4.6 10.1
4.6 10.35
2.35 10.35
END
VIA POLYGON
1 5 -1 N 128 1 1 100 100 0 0 0 Y
TOLEVEL 2 RING NOCOVERS
TLAYNAM Via1 INH
16.85 25.35
16.85 17.1
17.1 17.1
17.1 25.35
16.85 25.35
END
VIA POLYGON
1 5 -1 N 129 1 1 100 100 0 0 0 Y
TOLEVEL 2 RING NOCOVERS
TLAYNAM Via1 INH
1.85 16.85
1.85 16.6
2.1 16.6
2.1 16.85
1.85 16.85
END
VIA POLYGON
1 5 -1 N 132 1 1 100 100 0 0 0 Y
TOLEVEL 2 RING NOCOVERS
TLAYNAM Via1 INH
16.35 16.35
16.35 16.1
16.6 16.1
16.6 16.35
16.35 16.35
END
VIA POLYGON
1 5 -1 N 134 1 1 100 100 0 0 0 Y
TOLEVEL 2 RING NOCOVERS
TLAYNAM Via1 INH
7.35 15.85
7.35 15.6
15.6 15.6
15.6 15.85
7.35 15.85
END
VIA POLYGON
1 5 -1 N 144 1 1 100 100 0 0 0 Y
TOLEVEL 2 RING NOCOVERS
TLAYNAM Via1 INH
16.35 27.85
16.35 27.6
37.6 27.6
37.6 27.85
16.35 27.85
END
VIA POLYGON
1 5 -1 N 149 1 1 100 100 0 0 0 Y
TOLEVEL 2 RING NOCOVERS
TLAYNAM Via1 INH
15.725 27.225
15.725 26.975
15.975 26.975
15.975 27.225
15.725 27.225
END
VIA POLYGON
1 5 -1 N 151 1 1 100 100 0 0 0 Y
TOLEVEL 2 RING NOCOVERS
TLAYNAM Via1 INH
17.35 26.35
17.35 26.1
37.6 26.1
37.6 26.35
17.35 26.35
END
VIA POLYGON
1 5 -1 N 167 1 1 100 100 0 0 0 Y
TOLEVEL 2 RING NOCOVERS
TLAYNAM Via1 INH
2.35 19.35
2.35 19.1
4.6 19.1
4.6 19.35
2.35 19.35
END
VIA POLYGON
1 5 -1 N 172 1 1 100 100 0 0 0 Y
TOLEVEL 2 RING NOCOVERS
TLAYNAM Via1 INH
1.35 18.85
1.35 18.6
1.6 18.6
1.6 18.85
1.35 18.85
END
VIA POLYGON
1 5 -1 N 173 1 1 100 100 0 0 0 Y
TOLEVEL 2 RING NOCOVERS
TLAYNAM Via1 INH
0.85 18.35
0.85 18.1
1.1 18.1
1.1 18.35
0.85 18.35
END
VIA POLYGON
1 5 -1 N 176 1 1 100 100 0 0 0 Y
TOLEVEL 2 RING NOCOVERS
TLAYNAM Via1 INH
5.125 18.95
5.125 17.95
6.125 17.95
6.125 18.95
5.125 18.95
END
VIA POLYGON
1 5 -1 N 177 1 1 100 100 0 0 0 Y
TOLEVEL 2 RING NOCOVERS
TLAYNAM Via1 INH
2.54 17.9
2.54 17.65
2.79 17.65
2.79 17.9
2.54 17.9
END
VIA POLYGON
1 5 -1 N 178 1 1 100 100 0 0 0 Y
TOLEVEL 2 RING NOCOVERS
TLAYNAM Via1 INH
0.4 17.35
0.4 12.1
0.65 12.1
0.65 17.35
0.4 17.35
END
VIA POLYGON
1 8 -1 N 392 1 1 100 100 0 0 0 Y
TOLEVEL 2 RING NOCOVERS
TLAYNAM Via1 INH
15.6 12.1
15.6 4.1
15.35 4.1
15.35 12.1
6.35 12.1
6.35 12.35
15.6 12.35
15.6 12.1
END
VIA POLYGON
1 8 -1 N 393 1 1 100 100 0 0 0 Y
TOLEVEL 2 RING NOCOVERS
TLAYNAM Via1 INH
15.6 17.35
15.6 17.1
6.35 17.1
6.35 17.35
15.35 17.35
15.35 26.6
15.6 26.6
15.6 17.35
END
END GEO
OPT
MAX 100
END OPT
VARSWP
ENABLED Y
FREQ Y AY ABS_ENTRY 0.1 25.0 -1 300 
END
END VARSWP
SMDFILES
2 "../../../../../../../bulk/datasheets/Vishay/Resistors/FC/0402/FC0402-FlipChip-50 Ohm.s2p"
1 "../../../../../../../bulk/datasheets/Vishay/Resistors/FC/0402/FC0402-FlipChip-200 Ohm.s2p"
END SMDFILES
```
